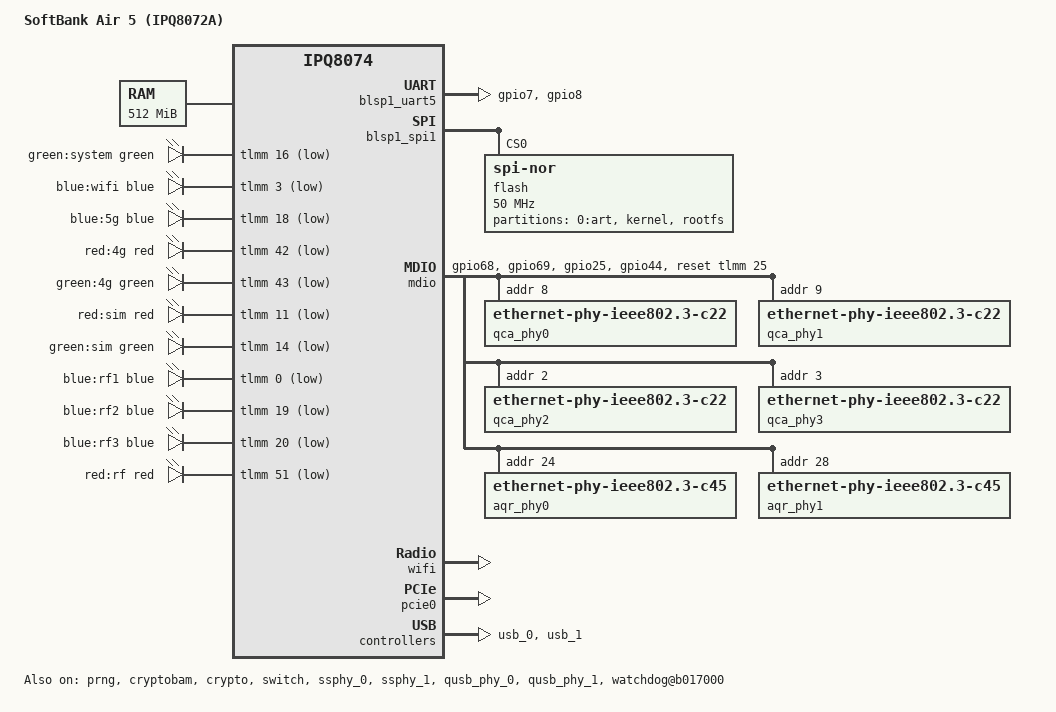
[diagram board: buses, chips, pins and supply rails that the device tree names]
// SPDX-License-Identifier: GPL-2.0-or-later OR MIT
/dts-v1/;
#include "ipq8074.dtsi"
#include "ipq8074-hk-cpu.dtsi"
#include "ipq8074-ess.dtsi"
#include <dt-bindings/gpio/gpio.h>
#include <dt-bindings/leds/common.h>

/ {
	model = "SoftBank Air 5 (IPQ8072A)";
	compatible = "softbank,air5", "qcom,ipq8074";

	aliases {
		serial0 = &blsp1_uart5;
		led-boot = &led_system;
		led-failsafe = &led_system;
		led-running = &led_system;
		led-upgrade = &led_system;
		ethernet0  = &dp1;
		ethernet1  = &dp2;
		ethernet2  = &dp3;
		ethernet3  = &dp4;
		ethernet4  = &dp5;
		ethernet5  = &dp6;
	};

	chosen {
		stdout-path = "serial0:115200n8";
	};

	memory@40000000 {
		device_type = "memory";
		reg = <0x0 0x40000000 0x0 0x20000000>;
	};

	leds {
		compatible = "gpio-leds";
		pinctrl-0 = <&led_pins>;
		pinctrl-names = "default";

		led_system: system {
			label = "green:system"; color = <LED_COLOR_ID_GREEN>;
			function = LED_FUNCTION_STATUS;
			gpios = <&tlmm 16 GPIO_ACTIVE_LOW>;
			linux,default-trigger = "heartbeat";
		};
		wifi {
			label = "blue:wifi"; 
			color = <LED_COLOR_ID_BLUE>;
			function = LED_FUNCTION_WLAN;
			gpios = <&tlmm 3 GPIO_ACTIVE_LOW>;
			linux,default-trigger = "phy0tpt";
		};
		wwan_5g {
			label = "blue:5g";
			color = <LED_COLOR_ID_BLUE>;
			gpios = <&tlmm 18 GPIO_ACTIVE_LOW>;
		};

		wwan_4g_red {
			label = "red:4g";
			color = <LED_COLOR_ID_RED>;
			gpios = <&tlmm 42 GPIO_ACTIVE_LOW>;
		};

		wwan_4g_green {
			label = "green:4g";
			color = <LED_COLOR_ID_GREEN>;
			gpios = <&tlmm 43 GPIO_ACTIVE_LOW>;
		};

		sim_red {
			label = "red:sim";
			color = <LED_COLOR_ID_RED>;
			gpios = <&tlmm 11 GPIO_ACTIVE_LOW>;
		};

		sim_green {
			label = "green:sim";
			color = <LED_COLOR_ID_GREEN>;
			gpios = <&tlmm 14 GPIO_ACTIVE_LOW>;
		};

		rf1_blue {
			label = "blue:rf1";
			color = <LED_COLOR_ID_BLUE>;
			gpios = <&tlmm 0 GPIO_ACTIVE_LOW>;
		};

		rf2_blue {
			label = "blue:rf2";
			color = <LED_COLOR_ID_BLUE>;
			gpios = <&tlmm 19 GPIO_ACTIVE_LOW>;
		};

		rf3_blue {
			label = "blue:rf3";
			color = <LED_COLOR_ID_BLUE>;
			gpios = <&tlmm 20 GPIO_ACTIVE_LOW>;
		};

		rf_red {
			label = "red:rf";
			color = <LED_COLOR_ID_RED>;
			gpios = <&tlmm 51 GPIO_ACTIVE_LOW>;
		};
	};
};

&tlmm {
	uart_pins: uart-state {
		pins = "gpio7", "gpio8";
		function = "blsp4_uart0";
		drive-strength = <8>; 
		bias-disable;
	};
	mdio_pins: mdio-state {
		mdc-pins {
			pins = "gpio68";
			function = "mdc";
			drive-strength = <8>;
			bias-pull-up;
		};
		mdio-pins {
			pins = "gpio69";
			function = "mdio";
			drive-strength = <8>;
			bias-pull-up;
		};
		phy-reset-0 {
			pins = "gpio25";
			function = "gpio";
			bias-pull-up;
		};
		phy-reset-1 {
			pins = "gpio44";
			function = "gpio";
			bias-pull-up;
		};
	};
	led_pins: led-state {
		pins = "gpio0", "gpio3", "gpio11", "gpio14", "gpio16",
		       "gpio18", "gpio19", "gpio20", "gpio42", "gpio43", "gpio51";
		function = "gpio";
		drive-strength = <2>;
		bias-pull-down;
	};
	usb_mux_pins: usb-mux-state {
		pins = "gpio27";
		function = "gpio";
		drive-strength = <8>;
		bias-pull-down;
		output-high;
	};
};

&blsp1_uart5 {
	status = "okay";
	pinctrl-0 = <&uart_pins>;
	pinctrl-names = "default";
};

&prng      { status = "okay"; };
&cryptobam { status = "okay"; };
&crypto    { status = "okay"; };

&blsp1_spi1 {
	status = "okay";
	pinctrl-0 = <&spi_0_pins>;
	pinctrl-names = "default";
	cs-gpios = <0>;
	flash@0 {
		compatible = "jedec,spi-nor";
		reg = <0>;
		#address-cells = <1>;
		#size-cells = <1>;
		spi-max-frequency = <50000000>;
		partitions {
			compatible = "fixed-partitions";
			#address-cells = <1>;
			#size-cells = <1>;

			partition@2a0000 {
				label = "0:art";
				reg = <0x2a0000 0x040000>;
				read-only;

				nvmem-layout {
					compatible = "fixed-layout";
					#address-cells = <1>;
					#size-cells = <1>;

					cal_art_wifi0: cal@1000 {
						reg = <0x1000 0x24a6>;
					};

					cal_art_wifi1: cal@35a6 {
						reg = <0x35a6 0x1ba5a>;
					};
				};
			};
			partition@400000 { 
				label = "kernel"; 
				reg = <0x400000 0x800000>; 
			};

			partition@c00000 { 
				label = "rootfs"; 
				reg = <0xc00000 0x3400000>; 
			};
		};
	};
};

&mdio {
	status = "okay";
	pinctrl-0 = <&mdio_pins>;
	pinctrl-names = "default";

	reset-gpios = <&tlmm 25 GPIO_ACTIVE_HIGH>,
	              <&tlmm 44 GPIO_ACTIVE_LOW>;
	reset-delay-us = <10000>;
	reset-post-delay-us = <50000>;

	qca_phy0: ethernet-phy@8 {
		compatible = "ethernet-phy-ieee802.3-c22";
		reg = <0x08>;
	};

	qca_phy1: ethernet-phy@9 {
		compatible = "ethernet-phy-ieee802.3-c22";
		reg = <0x09>;
	};

	qca_phy2: ethernet-phy@2 {
		compatible = "ethernet-phy-ieee802.3-c22";
		reg = <0x02>;
	};

	qca_phy3: ethernet-phy@3 {
		compatible = "ethernet-phy-ieee802.3-c22";
		reg = <0x03>;
	};

	aqr_phy0: ethernet-phy@18 {
		compatible = "ethernet-phy-ieee802.3-c45";
		reg = <0x18>;
	};

	aqr_phy1: ethernet-phy@1c {
		compatible = "ethernet-phy-ieee802.3-c45";
		reg = <0x1c>;
	};
};

&switch {
	status = "okay";

	switch_lan_bmp   = <0x3e>;
	switch_wan_bmp   = <0x40>;
	switch_mac_mode  = <0x00>;
	switch_mac_mode1 = <0x0f>;
	switch_mac_mode2 = <0x0f>;
	bm_tick_mode     = <0x00>;
	tm_tick_mode     = <0x00>;

	qcom,port_phyinfo {
		port@1 {
			port_id     = <1>;
			phy_address = <8>;	/* qca_phy0 */
		};
		port@2 {
			port_id     = <2>;
			phy_address = <9>;	/* qca_phy1 */
		};
		port@3 {
			port_id     = <3>;
			phy_address = <2>;	/* qca_phy2 */
		};
		port@4 {
			port_id     = <4>;
			phy_address = <3>;	/* qca_phy3 */
		};
		port@5 {
			port_id      = <5>;
			phy_address  = <0x18>;	/* aqr_phy0 */
			port_mac_sel = "QGMAC_PORT";
		};
		port@6 {
			port_id      = <6>;
			phy_address  = <0x1c>;	/* aqr_phy1 */
			port_mac_sel = "QGMAC_PORT";
		};
	};
};

&edma {
	status = "okay";
};

&soc {
	watchdog@b017000 {
	    compatible = "qcom,kpss-wdt-ipq807x", "qcom,kpss-wdt";
	    reg = <0xb017000 0x1000>;
	    clocks = <&sleep_clk>;
	    timeout-sec = <32>;
	    status = "okay";
	};
};

&wifi {
	status = "okay";
	nvmem-cells = <&cal_art_wifi0>, <&cal_art_wifi1>;
	nvmem-cell-names = "calibration", "pre-calibration";
};

&pcie0 {
	status = "okay";
	perst-gpios = <&tlmm 58 GPIO_ACTIVE_LOW>;
};

&pcie1    { status = "disabled"; };
&ssphy_0  { status = "okay"; };
&ssphy_1  { status = "okay"; };
&qusb_phy_0 { status = "okay"; };
&qusb_phy_1 { status = "okay"; };
&usb_0    { status = "okay"; };
&usb_1    { status = "okay"; };
